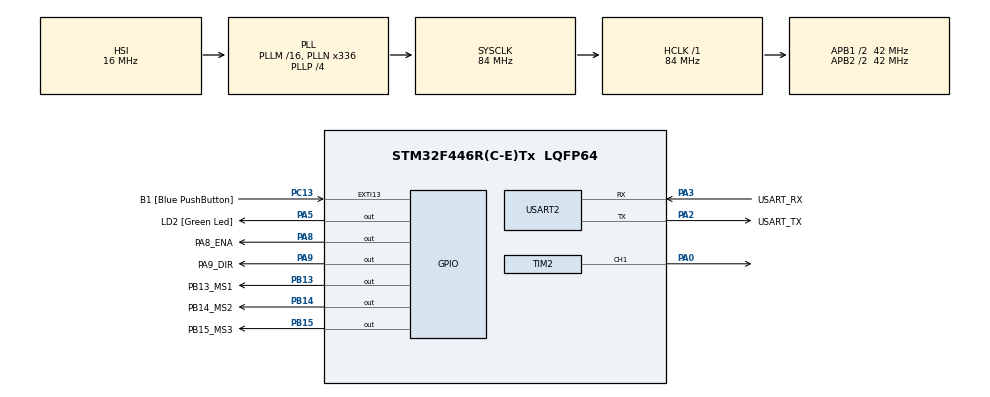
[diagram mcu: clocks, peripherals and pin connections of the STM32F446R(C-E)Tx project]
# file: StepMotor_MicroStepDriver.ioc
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Mcu.Family=STM32F4
Mcu.Name=STM32F446R(C-E)Tx
Mcu.Package=LQFP64
NVIC.EXTI15_10_IRQn=true\:0\:0\:false\:false\:true\:true\:true
NVIC.PriorityGroup=NVIC_PRIORITYGROUP_0
NVIC.TIM2_IRQn=true\:0\:0\:false\:false\:true\:true\:true
PA0-WKUP.GPIO_PuPd=GPIO_PULLDOWN
PA0-WKUP.Signal=S_TIM2_CH1_ETR
PA13.GPIO_Label=TMS
PA13.Mode=Serial_Wire
PA13.Signal=SYS_JTMS-SWDIO
PA14.GPIO_Label=TCK
PA14.Mode=Serial_Wire
PA14.Signal=SYS_JTCK-SWCLK
PA2.GPIO_Label=USART_TX
PA2.Mode=Asynchronous
PA2.Signal=USART2_TX
PA3.GPIO_Label=USART_RX
PA3.Mode=Asynchronous
PA3.Signal=USART2_RX
PA5.GPIO_Label=LD2 [Green Led]
PA5.Signal=GPIO_Output
PA8.GPIO_Label=PA8_ENA
PA8.GPIO_PuPd=GPIO_PULLUP
PA8.Signal=GPIO_Output
PA9.GPIO_Label=PA9_DIR
PA9.GPIO_PuPd=GPIO_PULLUP
PA9.Signal=GPIO_Output
PB13.GPIO_Label=PB13_MS1
PB13.GPIO_PuPd=GPIO_PULLDOWN
PB13.Signal=GPIO_Output
PB14.GPIO_Label=PB14_MS2
PB14.GPIO_PuPd=GPIO_PULLDOWN
PB14.Signal=GPIO_Output
PB15.GPIO_Label=PB15_MS3
PB15.GPIO_PuPd=GPIO_PULLDOWN
PB15.Signal=GPIO_Output
PB3.GPIO_Label=SWO
PB3.Signal=SYS_JTDO-SWO
PC13.GPIO_Label=B1 [Blue PushButton]
PC13.GPIO_ModeDefaultEXTI=GPIO_MODE_IT_FALLING
PC13.Signal=GPXTI13
PC14-OSC32_IN.Mode=LSE-External-Oscillator
PC14-OSC32_IN.Signal=RCC_OSC32_IN
PC15-OSC32_OUT.Mode=LSE-External-Oscillator
PC15-OSC32_OUT.Signal=RCC_OSC32_OUT
PH0-OSC_IN.Mode=HSE-External-Oscillator
PH0-OSC_IN.Signal=RCC_OSC_IN
PH1-OSC_OUT.Mode=HSE-External-Oscillator
PH1-OSC_OUT.Signal=RCC_OSC_OUT
ProjectManager.HeapSize=0x200
ProjectManager.StackSize=0x400
ProjectManager.TargetToolchain=STM32CubeIDE
RCC.48MHZClocksFreq_Value=84000000
RCC.AHBFreq_Value=84000000
RCC.APB1CLKDivider=RCC_HCLK_DIV2
RCC.APB1Freq_Value=42000000
RCC.APB1TimFreq_Value=84000000
RCC.APB2CLKDivider=RCC_HCLK_DIV2
RCC.APB2Freq_Value=42000000
RCC.APB2TimFreq_Value=84000000
RCC.CortexFreq_Value=84000000
RCC.FLatency-AdvancedSettings=FLASH_LATENCY_2
RCC.HCLKFreq_Value=84000000
RCC.HSE_VALUE=8000000
RCC.HSI_VALUE=16000000
RCC.PLLN=336
RCC.PLLP=RCC_PLLP_DIV4
RCC.SYSCLKFreq_VALUE=84000000
RCC.SYSCLKSource=RCC_SYSCLKSOURCE_PLLCLK
RCC.USBFreq_Value=168000000
RCC.VCOOutputFreq_Value=336000000
SH.S_TIM2_CH1_ETR.0=TIM2_CH1,PWM Generation1 CH1
TIM2.AutoReloadPreload=TIM_AUTORELOAD_PRELOAD_ENABLE
TIM2.Channel-PWM\ Generation1\ CH1=TIM_CHANNEL_1
TIM2.Period=4999
TIM2.Prescaler=83
TIM2.Pulse-PWM\ Generation1\ CH1=2500
TIM2.TIM_MasterOutputTrigger=TIM_TRGO_UPDATE
USART2.VirtualMode=VM_ASYNC
VP_TIM2_VS_ClockSourceINT.Mode=Internal
board=NUCLEO-F446RE

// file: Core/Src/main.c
/* USER CODE BEGIN Header */
/**
  ******************************************************************************
  * @file           : main.c
  * @brief          : Main program body
  ******************************************************************************
  * @attention
  *
  * <h2><center>&copy; Copyright (c) 2021 STMicroelectronics.
  * All rights reserved.</center></h2>
  *
  * This software component is licensed by ST under BSD 3-Clause license,
  * the "License"; You may not use this file except in compliance with the
  * License. You may obtain a copy of the License at:
  *                        opensource.org/licenses/BSD-3-Clause
  *
  ******************************************************************************
  */
/* USER CODE END Header */
#include "main.h"

/* USER CODE BEGIN Includes */
#include "A4988_Driver.h"

/* USER CODE END Includes */

/* USER CODE BEGIN PTD */
#ifdef __GNUC__
  #define PUTCHAR_PROTOTYPE int __io_putchar(int ch)
#else#define PUTCHAR_PROTOTYPE int fputc(int ch, FILE *f)
#endif /* __GNUC__ */

/* USER CODE END PTD */

TIM_HandleTypeDef htim2;

UART_HandleTypeDef huart2;

/* USER CODE BEGIN PV */
uint8_t g_count = 0;
uint32_t g_motor_step = 0;
uint32_t g_step = 0;

/* USER CODE END PV */

void SystemClock_Config(void);
static void MX_GPIO_Init(void);
static void MX_USART2_UART_Init(void);
static void MX_TIM2_Init(void);

int main(void)
{

  /* MCU Configuration--------------------------------------------------------*/

  /* Reset of all peripherals, Initializes the Flash interface and the Systick. */
  HAL_Init();

  /* Configure the system clock */
  SystemClock_Config();

  /* USER CODE BEGIN SysInit */
  SysTick_Config(SystemCoreClock / 1000);

  /* USER CODE END SysInit */

  /* Initialize all configured peripherals */
  MX_GPIO_Init();
  MX_USART2_UART_Init();
  MX_TIM2_Init();
  /* USER CODE BEGIN 2 */
  StepMotorDriver_Iint(&htim2);

  /* USER CODE END 2 */

  /* Infinite loop */
  while (1)
  {

    /* USER CODE BEGIN 3 */
	while(g_count > 0)
	{
		// StepMotor_Control(TIMx, (unit:deg/sec ,>0 = forward; <0 = reverse), (unit:deg))
		g_step = StepMotor_Control(&htim2, 1080.0, 1080.0);  // test 1080.0 deg/sec, 1080.0 deg
		g_count = 0;
	}

	HAL_Delay(10);
  }
  /* USER CODE END 3 */
}

void SystemClock_Config(void)
{
  RCC_OscInitTypeDef RCC_OscInitStruct = {0};
  RCC_ClkInitTypeDef RCC_ClkInitStruct = {0};

  /** Configure the main internal regulator output voltage
  */
  __HAL_RCC_PWR_CLK_ENABLE();
  __HAL_PWR_VOLTAGESCALING_CONFIG(PWR_REGULATOR_VOLTAGE_SCALE3);
  /** Initializes the RCC Oscillators according to the specified parameters
  * in the RCC_OscInitTypeDef structure.
  */
  RCC_OscInitStruct.OscillatorType = RCC_OSCILLATORTYPE_HSI;
  RCC_OscInitStruct.HSIState = RCC_HSI_ON;
  RCC_OscInitStruct.HSICalibrationValue = RCC_HSICALIBRATION_DEFAULT;
  RCC_OscInitStruct.PLL.PLLState = RCC_PLL_ON;
  RCC_OscInitStruct.PLL.PLLSource = RCC_PLLSOURCE_HSI;
  RCC_OscInitStruct.PLL.PLLM = 16;
  RCC_OscInitStruct.PLL.PLLN = 336;
  RCC_OscInitStruct.PLL.PLLP = RCC_PLLP_DIV4;
  RCC_OscInitStruct.PLL.PLLQ = 2;
  RCC_OscInitStruct.PLL.PLLR = 2;
  if (HAL_RCC_OscConfig(&RCC_OscInitStruct) != HAL_OK)
  {
    Error_Handler();
  }
  /** Initializes the CPU, AHB and APB buses clocks
  */
  RCC_ClkInitStruct.ClockType = RCC_CLOCKTYPE_HCLK|RCC_CLOCKTYPE_SYSCLK
                              |RCC_CLOCKTYPE_PCLK1|RCC_CLOCKTYPE_PCLK2;
  RCC_ClkInitStruct.SYSCLKSource = RCC_SYSCLKSOURCE_PLLCLK;
  RCC_ClkInitStruct.AHBCLKDivider = RCC_SYSCLK_DIV1;
  RCC_ClkInitStruct.APB1CLKDivider = RCC_HCLK_DIV2;
  RCC_ClkInitStruct.APB2CLKDivider = RCC_HCLK_DIV2;

  if (HAL_RCC_ClockConfig(&RCC_ClkInitStruct, FLASH_LATENCY_2) != HAL_OK)
  {
    Error_Handler();
  }
}

static void MX_TIM2_Init(void)
{

  TIM_ClockConfigTypeDef sClockSourceConfig = {0};
  TIM_MasterConfigTypeDef sMasterConfig = {0};
  TIM_OC_InitTypeDef sConfigOC = {0};

  htim2.Instance = TIM2;
  htim2.Init.Prescaler = 83;
  htim2.Init.CounterMode = TIM_COUNTERMODE_UP;
  htim2.Init.Period = 4999;
  htim2.Init.ClockDivision = TIM_CLOCKDIVISION_DIV1;
  htim2.Init.AutoReloadPreload = TIM_AUTORELOAD_PRELOAD_ENABLE;
  if (HAL_TIM_Base_Init(&htim2) != HAL_OK)
  {
    Error_Handler();
  }
  sClockSourceConfig.ClockSource = TIM_CLOCKSOURCE_INTERNAL;
  if (HAL_TIM_ConfigClockSource(&htim2, &sClockSourceConfig) != HAL_OK)
  {
    Error_Handler();
  }
  if (HAL_TIM_PWM_Init(&htim2) != HAL_OK)
  {
    Error_Handler();
  }
  sMasterConfig.MasterOutputTrigger = TIM_TRGO_UPDATE;
  sMasterConfig.MasterSlaveMode = TIM_MASTERSLAVEMODE_DISABLE;
  if (HAL_TIMEx_MasterConfigSynchronization(&htim2, &sMasterConfig) != HAL_OK)
  {
    Error_Handler();
  }
  sConfigOC.OCMode = TIM_OCMODE_PWM1;
  sConfigOC.Pulse = 2500;
  sConfigOC.OCPolarity = TIM_OCPOLARITY_HIGH;
  sConfigOC.OCFastMode = TIM_OCFAST_DISABLE;
  if (HAL_TIM_PWM_ConfigChannel(&htim2, &sConfigOC, TIM_CHANNEL_1) != HAL_OK)
  {
    Error_Handler();
  }
  HAL_TIM_MspPostInit(&htim2);

}

static void MX_USART2_UART_Init(void)
{

  huart2.Instance = USART2;
  huart2.Init.BaudRate = 115200;
  huart2.Init.WordLength = UART_WORDLENGTH_8B;
  huart2.Init.StopBits = UART_STOPBITS_1;
  huart2.Init.Parity = UART_PARITY_NONE;
  huart2.Init.Mode = UART_MODE_TX_RX;
  huart2.Init.HwFlowCtl = UART_HWCONTROL_NONE;
  huart2.Init.OverSampling = UART_OVERSAMPLING_16;
  if (HAL_UART_Init(&huart2) != HAL_OK)
  {
    Error_Handler();
  }

}

static void MX_GPIO_Init(void)
{
  GPIO_InitTypeDef GPIO_InitStruct = {0};

  /* GPIO Ports Clock Enable */
  __HAL_RCC_GPIOC_CLK_ENABLE();
  __HAL_RCC_GPIOH_CLK_ENABLE();
  __HAL_RCC_GPIOA_CLK_ENABLE();
  __HAL_RCC_GPIOB_CLK_ENABLE();

  /*Configure GPIO pin Output Level */
  HAL_GPIO_WritePin(GPIOA, LD2_Pin|PA8_ENA_Pin|PA9_DIR_Pin, GPIO_PIN_RESET);

  /*Configure GPIO pin Output Level */
  HAL_GPIO_WritePin(GPIOB, PB13_MS1_Pin|PB14_MS2_Pin|PB15_MS3_Pin, GPIO_PIN_RESET);

  /*Configure GPIO pin : B1_Pin */
  GPIO_InitStruct.Pin = B1_Pin;
  GPIO_InitStruct.Mode = GPIO_MODE_IT_FALLING;
  GPIO_InitStruct.Pull = GPIO_NOPULL;
  HAL_GPIO_Init(B1_GPIO_Port, &GPIO_InitStruct);

  /*Configure GPIO pin : LD2_Pin */
  GPIO_InitStruct.Pin = LD2_Pin;
  GPIO_InitStruct.Mode = GPIO_MODE_OUTPUT_PP;
  GPIO_InitStruct.Pull = GPIO_NOPULL;
  GPIO_InitStruct.Speed = GPIO_SPEED_FREQ_LOW;
  HAL_GPIO_Init(LD2_GPIO_Port, &GPIO_InitStruct);

  /*Configure GPIO pins : PB13_MS1_Pin PB14_MS2_Pin PB15_MS3_Pin */
  GPIO_InitStruct.Pin = PB13_MS1_Pin|PB14_MS2_Pin|PB15_MS3_Pin;
  GPIO_InitStruct.Mode = GPIO_MODE_OUTPUT_PP;
  GPIO_InitStruct.Pull = GPIO_PULLDOWN;
  GPIO_InitStruct.Speed = GPIO_SPEED_FREQ_LOW;
  HAL_GPIO_Init(GPIOB, &GPIO_InitStruct);

  /*Configure GPIO pins : PA8_ENA_Pin PA9_DIR_Pin */
  GPIO_InitStruct.Pin = PA8_ENA_Pin|PA9_DIR_Pin;
  GPIO_InitStruct.Mode = GPIO_MODE_OUTPUT_PP;
  GPIO_InitStruct.Pull = GPIO_PULLUP;
  GPIO_InitStruct.Speed = GPIO_SPEED_FREQ_LOW;
  HAL_GPIO_Init(GPIOA, &GPIO_InitStruct);

  /* EXTI interrupt init*/
  HAL_NVIC_SetPriority(EXTI15_10_IRQn, 0, 0);
  HAL_NVIC_EnableIRQ(EXTI15_10_IRQn);

}

/* USER CODE BEGIN 4 */
void HAL_GPIO_EXTI_Callback(uint16_t GPIO_Pin)
{
  /* Prevent unused argument(s) compilation warning */
  UNUSED(GPIO_Pin);
  /* NOTE: This function Should not be modified, when the callback is needed,
           the HAL_GPIO_EXTI_Callback could be implemented in the user file
   */

  if(GPIO_Pin == B1_Pin){
	  g_count = 1;
	  HAL_GPIO_TogglePin(LD2_GPIO_Port, LD2_Pin);
  }
}

/**
  * @brief  PWM Pulse finished callback in non-blocking mode
  * @param  htim TIM handle
  * @retval None
  */
void HAL_TIM_PWM_PulseFinishedCallback(TIM_HandleTypeDef *htim)
{
  /* Prevent unused argument(s) compilation warning */
  UNUSED(htim);

  /* NOTE : This function should not be modified, when the callback is needed,
            the HAL_TIM_PWM_PulseFinishedCallback could be implemented in the user file
   */

  if(htim == &htim2)
  {
	  g_motor_step++;
	  if(g_motor_step == g_step)
	  {
		  StepMotor_Stop(&htim2);
		  g_motor_step = 0;
	  }
  }
}

PUTCHAR_PROTOTYPE
{
  HAL_UART_Transmit(&huart2, (uint8_t *)&ch, 1, 0xFFFF);
  return ch;
}
/* USER CODE END 4 */

void Error_Handler(void)
{
  __disable_irq();
  while (1)
  {
  }
}

/************************ (C) COPYRIGHT STMicroelectronics *****END OF FILE****/
